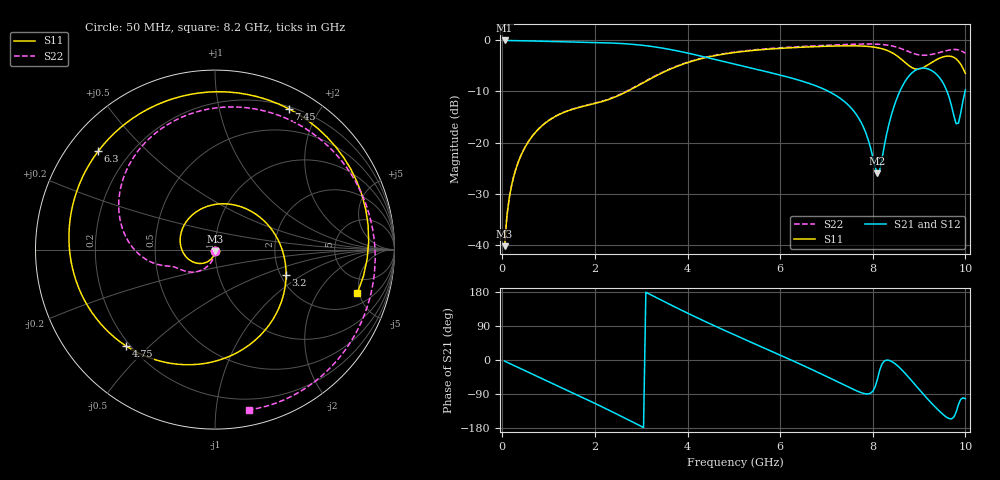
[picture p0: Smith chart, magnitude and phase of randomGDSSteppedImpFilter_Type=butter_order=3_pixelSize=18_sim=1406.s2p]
! freq	dB(S11)	phase(S11)	dB(S12)	phase(S12)
!  dB(S21)	phase(S21)	dB(S22)	phase(S22)
!S-par simulation data
#  GHz  S  DB  R 50
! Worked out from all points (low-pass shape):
!   200 points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, 50 MHz to 10 GHz, reference 50 ohm
!   highest |S21| = -0.01 dB at 50 MHz (marker M1); lowest = -26.1 dB at 8.1 GHz (marker M2)
!   |S21| within 3 dB of the highest: start of sweep to 4.258 GHz
!   lowest |S11| = -40.3 dB at 50 MHz (marker M3), VSWR 1.02, Z = 49.9 - j0.964 ohm
!   |S11| at or under -10 dB: start of sweep to 2.693 GHz
!   |S22| runs from -40.3 to -0.7 dB; largest |S21 - S12| = 0
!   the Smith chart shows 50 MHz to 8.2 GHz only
!   S11 on the Smith chart (normalised r, x): 50 MHz: 1.00, -0.02; 3.2 GHz: 2.14, -0.74; 4.75 GHz: 0.18, -0.42; 6.3 GHz: 0.09, +0.36; 7.45 GHz: 0.22, +1.63; 8.2 GHz: 3.04, -4.75
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0.05  -40.30 -92.8  -0.01 -2.9  -0.01 -2.9  -40.28 -91.4
0.2  -28.42 -104.4  -0.03 -11.6  -0.03 -11.6  -28.40 -98.4
0.5  -20.79 -126.8  -0.08 -28.7  -0.08 -28.7  -20.76 -111.6
1.75  -12.91 130.9  -0.35 -99.9  -0.35 -99.9  -12.85 -152.1
2.55  -10.63 46.3  -0.59 -147.3  -0.59 -147.3  -10.53 -162.5
3.2  -7.51 -19.9  -1.15 172.5  -1.15 172.5  -7.41 -176.8
3.4  -6.57 -37.7  -1.42 160.0  -1.42 160.0  -6.48 176.2
4.1  -4.06 -91.5  -2.68 117.8  -2.68 117.8  -3.98 145.9
4.75  -2.72 -132.8  -4.06 80.8  -4.06 80.8  -2.64 113.7
5.05  -2.32 -150.2  -4.71 64.4  -4.71 64.4  -2.24 98.3
6.3  -1.40 139.9  -7.51 -3.5  -7.51 -3.5  -1.27 31.8
6.7  -1.24 115.7  -8.65 -26.0  -8.65 -26.0  -1.08 9.9
7.45  -1.05 62.4  -12.47 -70.0  -12.47 -70.0  -0.79 -32.2
8.1  -1.42 -3.5  -26.05 -50.8  -26.05 -50.8  -0.74 -71.6
8.2  -1.63 -17.1  -23.11 -10.3  -23.11 -10.3  -0.80 -78.1
8.35  -2.11 -40.6  -16.37 -0.9  -16.37 -0.9  -0.97 -88.2
8.6  -3.55 -91.2  -9.66 -22.7  -9.66 -22.7  -1.56 -104.7
8.85  -5.35 -160.8  -6.32 -56.2  -6.32 -56.2  -2.46 -118.4
9.25  -4.44 82.7  -5.80 -111.6  -5.80 -111.6  -2.78 -135.4
9.65  -3.07 -7.1  -11.18 -154.7  -11.18 -154.7  -1.89 -163.8
9.85  -4.06 -60.3  -16.20 -117.5  -16.20 -117.5  -1.85 175.1
10  -6.48 -112.4  -9.67 -102.2  -9.67 -102.2  -2.53 158.2
